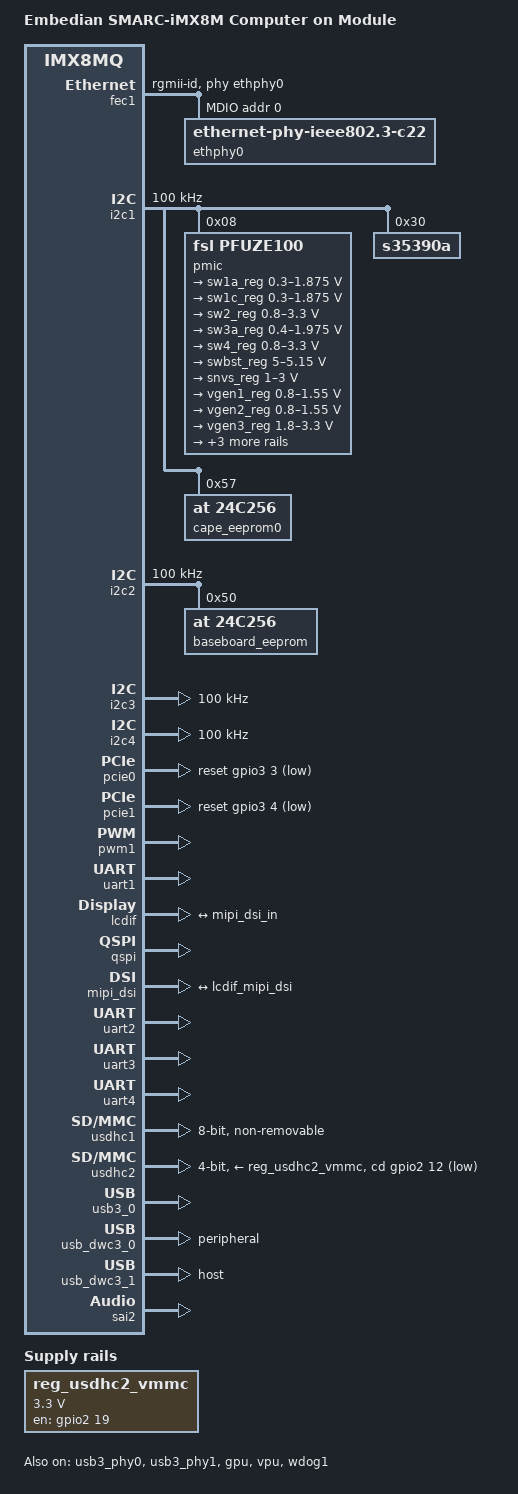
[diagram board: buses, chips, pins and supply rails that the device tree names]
/*
 * Copyright (C) 2016 Freescale Semiconductor, Inc.
 * Copyright 2017 NXP
 *
 * This program is free software; you can redistribute it and/or
 * modify it under the terms of the GNU General Public License
 * as published by the Free Software Foundation; either version 2
 * of the License, or (at your option) any later version.
 *
 * This program is distributed in the hope that it will be useful,
 * but WITHOUT ANY WARRANTY; without even the implied warranty of
 * MERCHANTABILITY or FITNESS FOR A PARTICULAR PURPOSE.  See the
 * GNU General Public License for more details.
 */

/dts-v1/;

/* First 128KB is for PSCI ATF. */
/memreserve/ 0x40000000 0x00020000;

#include "fsl-imx8mq.dtsi"

/ {
	model = "Embedian SMARC-iMX8M Computer on Module";
	compatible = "embedian,imx8mq-smarcimx8m", "fsl,imx8mq";

	regulators {
		compatible = "simple-bus";
		#address-cells = <1>;
		#size-cells = <0>;

		reg_usdhc2_vmmc: usdhc2_vmmc {
			compatible = "regulator-fixed";
			regulator-name = "VSD_3V3";
			regulator-min-microvolt = <3300000>;
			regulator-max-microvolt = <3300000>;
			gpio = <&gpio2 19 GPIO_ACTIVE_HIGH>;
			enable-active-high;
		};
	};

        backlight: backlight {
                compatible = "pwm-backlight";
                pwms = <&pwm1 0 1000000 0>;
                brightness-levels = < 0  1  2  3  4  5  6  7  8  9
                                     10 11 12 13 14 15 16 17 18 19
                                     20 21 22 23 24 25 26 27 28 29
                                     30 31 32 33 34 35 36 37 38 39
                                     40 41 42 43 44 45 46 47 48 49
                                     50 51 52 53 54 55 56 57 58 59
                                     60 61 62 63 64 65 66 67 68 69
                                     70 71 72 73 74 75 76 77 78 79
                                     80 81 82 83 84 85 86 87 88 89
                                     90 91 92 93 94 95 96 97 98 99
                                    100>;
                default-brightness-level = <80>;
                status = "disabled";
        };
};

&iomuxc {
	pinctrl-names = "default";

	smarc-imx8mq {
		pinctrl_fec1: fec1grp {
			fsl,pins = <
				MX8MQ_IOMUXC_ENET_MDC_ENET1_MDC		0x3
				MX8MQ_IOMUXC_ENET_MDIO_ENET1_MDIO	0x23
				MX8MQ_IOMUXC_ENET_TD3_ENET1_RGMII_TD3	0x1f
				MX8MQ_IOMUXC_ENET_TD2_ENET1_RGMII_TD2	0x1f
				MX8MQ_IOMUXC_ENET_TD1_ENET1_RGMII_TD1	0x1f
				MX8MQ_IOMUXC_ENET_TD0_ENET1_RGMII_TD0	0x1f
				MX8MQ_IOMUXC_ENET_RD3_ENET1_RGMII_RD3	0x91
				MX8MQ_IOMUXC_ENET_RD2_ENET1_RGMII_RD2	0x91
				MX8MQ_IOMUXC_ENET_RD1_ENET1_RGMII_RD1	0x91
				MX8MQ_IOMUXC_ENET_RD0_ENET1_RGMII_RD0	0x91
				MX8MQ_IOMUXC_ENET_TXC_ENET1_RGMII_TXC	0x1f
				MX8MQ_IOMUXC_ENET_RXC_ENET1_RGMII_RXC	0x91
				MX8MQ_IOMUXC_ENET_RX_CTL_ENET1_RGMII_RX_CTL	0x91
				MX8MQ_IOMUXC_ENET_TX_CTL_ENET1_RGMII_TX_CTL	0x1f
			>;
		};

		pinctrl_i2c1: i2c1grp {
			fsl,pins = <
				MX8MQ_IOMUXC_I2C1_SCL_I2C1_SCL			0x4000007f
				MX8MQ_IOMUXC_I2C1_SDA_I2C1_SDA			0x4000007f
			>;
		};

		pinctrl_i2c2: i2c2grp {
			fsl,pins = <
				MX8MQ_IOMUXC_I2C2_SCL_I2C2_SCL			0x4000007f
				MX8MQ_IOMUXC_I2C2_SDA_I2C2_SDA			0x4000007f
			>;
		};

               pinctrl_i2c3: i2c3grp {
                        fsl,pins = <
                                MX8MQ_IOMUXC_I2C3_SCL_I2C3_SCL                  0x4000007f
                                MX8MQ_IOMUXC_I2C3_SDA_I2C3_SDA                  0x4000007f
                        >;
                };

                pinctrl_i2c4: i2c4grp {
                        fsl,pins = <
                                MX8MQ_IOMUXC_I2C4_SCL_I2C4_SCL                  0x4000007f
                                MX8MQ_IOMUXC_I2C4_SDA_I2C4_SDA                  0x4000007f
                        >;
                };


		pinctrl_pcie0: pcie0grp {
			fsl,pins = <
                                MX8MQ_IOMUXC_NAND_CE2_B_GPIO3_IO3       0x16
			>;
		};

		pinctrl_pcie1: pcie1grp {
			fsl,pins = <
                                MX8MQ_IOMUXC_NAND_CE3_B_GPIO3_IO4       0x16
			>;
		};

		pinctrl_pwm1: pwm1grp {
			fsl,pins = <
                                MX8MQ_IOMUXC_SPDIF_EXT_CLK_PWM1_OUT     0x16
			>;
		};

		pinctrl_qspi: qspigrp {
			fsl,pins = <
				MX8MQ_IOMUXC_NAND_ALE_QSPI_A_SCLK	0x82
				MX8MQ_IOMUXC_NAND_CE0_B_QSPI_A_SS0_B	0x82
                                MX8MQ_IOMUXC_NAND_CE1_B_QSPI_A_SS1_B    0x82
				MX8MQ_IOMUXC_NAND_DATA00_QSPI_A_DATA0	0x82
				MX8MQ_IOMUXC_NAND_DATA01_QSPI_A_DATA1	0x82
				MX8MQ_IOMUXC_NAND_DATA02_QSPI_A_DATA2	0x82
				MX8MQ_IOMUXC_NAND_DATA03_QSPI_A_DATA3	0x82

			>;
		};

		pinctrl_uart1: uart1grp {
			fsl,pins = <
				MX8MQ_IOMUXC_UART1_RXD_UART1_DCE_RX		0x79
				MX8MQ_IOMUXC_UART1_TXD_UART1_DCE_TX		0x79
			>;
		};

                pinctrl_uart2: uart2grp {
                        fsl,pins = <
                                MX8MQ_IOMUXC_UART2_RXD_UART2_DCE_RX             0x79
                                MX8MQ_IOMUXC_UART2_TXD_UART2_DCE_TX             0x79
				MX8MQ_IOMUXC_UART4_TXD_UART2_DCE_RTS_B		0x79	/* RTS */
				MX8MQ_IOMUXC_UART4_RXD_UART2_DCE_CTS_B		0x79	/* CTS */

                        >;
                };

                pinctrl_uart3: uart3grp {
                        fsl,pins = <
                                MX8MQ_IOMUXC_UART3_RXD_UART3_DCE_RX             0x79
                                MX8MQ_IOMUXC_UART3_TXD_UART3_DCE_TX             0x79
                        >;
                };

                pinctrl_uart4: uart4grp {
                        fsl,pins = <
				MX8MQ_IOMUXC_ECSPI2_SCLK_UART4_DCE_RX		0x79
				MX8MQ_IOMUXC_ECSPI2_MOSI_UART4_DCE_TX		0x79
				MX8MQ_IOMUXC_ECSPI2_SS0_UART4_DCE_RTS_B		0x79	/* RTS */
				MX8MQ_IOMUXC_ECSPI2_MISO_UART4_DCE_CTS_B	0x79	/* CTS */
                        >;
                };

		pinctrl_usdhc1: usdhc1grp {
			fsl,pins = <
				MX8MQ_IOMUXC_SD1_CLK_USDHC1_CLK			0x83
				MX8MQ_IOMUXC_SD1_CMD_USDHC1_CMD			0xc3
				MX8MQ_IOMUXC_SD1_DATA0_USDHC1_DATA0		0xc3
				MX8MQ_IOMUXC_SD1_DATA1_USDHC1_DATA1		0xc3
				MX8MQ_IOMUXC_SD1_DATA2_USDHC1_DATA2		0xc3
				MX8MQ_IOMUXC_SD1_DATA3_USDHC1_DATA3		0xc3
				MX8MQ_IOMUXC_SD1_DATA4_USDHC1_DATA4		0xc3
				MX8MQ_IOMUXC_SD1_DATA5_USDHC1_DATA5		0xc3
				MX8MQ_IOMUXC_SD1_DATA6_USDHC1_DATA6		0xc3
				MX8MQ_IOMUXC_SD1_DATA7_USDHC1_DATA7		0xc3
				MX8MQ_IOMUXC_SD1_STROBE_USDHC1_STROBE 		0x83
				MX8MQ_IOMUXC_SD1_RESET_B_USDHC1_RESET_B		0xc1
			>;
		};

		pinctrl_usdhc1_100mhz: usdhc1grp100mhz {
			fsl,pins = <
				MX8MQ_IOMUXC_SD1_CLK_USDHC1_CLK			0x8d
				MX8MQ_IOMUXC_SD1_CMD_USDHC1_CMD			0xcd
				MX8MQ_IOMUXC_SD1_DATA0_USDHC1_DATA0		0xcd
				MX8MQ_IOMUXC_SD1_DATA1_USDHC1_DATA1		0xcd
				MX8MQ_IOMUXC_SD1_DATA2_USDHC1_DATA2		0xcd
				MX8MQ_IOMUXC_SD1_DATA3_USDHC1_DATA3		0xcd
				MX8MQ_IOMUXC_SD1_DATA4_USDHC1_DATA4		0xcd
				MX8MQ_IOMUXC_SD1_DATA5_USDHC1_DATA5		0xcd
				MX8MQ_IOMUXC_SD1_DATA6_USDHC1_DATA6		0xcd
				MX8MQ_IOMUXC_SD1_DATA7_USDHC1_DATA7		0xcd
				MX8MQ_IOMUXC_SD1_STROBE_USDHC1_STROBE 		0x8d
				MX8MQ_IOMUXC_SD1_RESET_B_USDHC1_RESET_B		0xc1
			>;
		};

		pinctrl_usdhc1_200mhz: usdhc1grp200mhz {
			fsl,pins = <
				MX8MQ_IOMUXC_SD1_CLK_USDHC1_CLK			0x9f
				MX8MQ_IOMUXC_SD1_CMD_USDHC1_CMD			0xdf
				MX8MQ_IOMUXC_SD1_DATA0_USDHC1_DATA0		0xdf
				MX8MQ_IOMUXC_SD1_DATA1_USDHC1_DATA1		0xdf
				MX8MQ_IOMUXC_SD1_DATA2_USDHC1_DATA2		0xdf
				MX8MQ_IOMUXC_SD1_DATA3_USDHC1_DATA3		0xdf
				MX8MQ_IOMUXC_SD1_DATA4_USDHC1_DATA4		0xdf
				MX8MQ_IOMUXC_SD1_DATA5_USDHC1_DATA5		0xdf
				MX8MQ_IOMUXC_SD1_DATA6_USDHC1_DATA6		0xdf
				MX8MQ_IOMUXC_SD1_DATA7_USDHC1_DATA7		0xdf
				MX8MQ_IOMUXC_SD1_STROBE_USDHC1_STROBE 		0x9f
				MX8MQ_IOMUXC_SD1_RESET_B_USDHC1_RESET_B		0xc1
			>;
		};

		pinctrl_usdhc2_gpio: usdhc2grpgpio {
			fsl,pins = <
                                MX8MQ_IOMUXC_SD2_WP_GPIO2_IO20          0x41
				MX8MQ_IOMUXC_SD2_CD_B_GPIO2_IO12	0x41
				MX8MQ_IOMUXC_SD2_RESET_B_GPIO2_IO19	0x41
			>;
		};

		pinctrl_usdhc2: usdhc2grp {
			fsl,pins = <
				MX8MQ_IOMUXC_SD2_CLK_USDHC2_CLK			0x83
				MX8MQ_IOMUXC_SD2_CMD_USDHC2_CMD			0xc3
				MX8MQ_IOMUXC_SD2_DATA0_USDHC2_DATA0		0xc3
				MX8MQ_IOMUXC_SD2_DATA1_USDHC2_DATA1		0xc3
				MX8MQ_IOMUXC_SD2_DATA2_USDHC2_DATA2		0xc3
				MX8MQ_IOMUXC_SD2_DATA3_USDHC2_DATA3		0xc3
			>;
		};

		pinctrl_usdhc2_100mhz: usdhc2grp100mhz {
			fsl,pins = <
				MX8MQ_IOMUXC_SD2_CLK_USDHC2_CLK			0x8d
				MX8MQ_IOMUXC_SD2_CMD_USDHC2_CMD			0xcd
				MX8MQ_IOMUXC_SD2_DATA0_USDHC2_DATA0		0xcd
				MX8MQ_IOMUXC_SD2_DATA1_USDHC2_DATA1		0xcd
				MX8MQ_IOMUXC_SD2_DATA2_USDHC2_DATA2		0xcd
				MX8MQ_IOMUXC_SD2_DATA3_USDHC2_DATA3		0xcd
			>;
		};

		pinctrl_usdhc2_200mhz: usdhc2grp200mhz {
			fsl,pins = <
				MX8MQ_IOMUXC_SD2_CLK_USDHC2_CLK			0x9f
				MX8MQ_IOMUXC_SD2_CMD_USDHC2_CMD			0xdf
				MX8MQ_IOMUXC_SD2_DATA0_USDHC2_DATA0		0xdf
				MX8MQ_IOMUXC_SD2_DATA1_USDHC2_DATA1		0xdf
				MX8MQ_IOMUXC_SD2_DATA2_USDHC2_DATA2		0xdf
				MX8MQ_IOMUXC_SD2_DATA3_USDHC2_DATA3		0xdf
			>;
		};

		pinctrl_sai2: sai2grp {
			fsl,pins = <
				MX8MQ_IOMUXC_SAI2_TXFS_SAI2_TX_SYNC	0xd6
				MX8MQ_IOMUXC_SAI2_TXC_SAI2_TX_BCLK	0xd6
				MX8MQ_IOMUXC_SAI2_MCLK_SAI2_MCLK	0xd6
				MX8MQ_IOMUXC_SAI2_TXD0_SAI2_TX_DATA0	0xd6
				MX8MQ_IOMUXC_GPIO1_IO08_GPIO1_IO8	0xd6
			>;
		};

		pinctrl_wdog: wdoggrp {
			fsl,pins = <
				MX8MQ_IOMUXC_GPIO1_IO02_WDOG1_WDOG_B 0xc6
			>;
		};
	};
};

&fec1 {
	pinctrl-names = "default";
	pinctrl-0 = <&pinctrl_fec1>;
	phy-mode = "rgmii-id";
	phy-handle = <&ethphy0>;
	fsl,magic-packet;
        interrupt-parent = <&gpio1>;
        interrupts = <11 IRQ_TYPE_EDGE_FALLING>;
	status = "okay";

	mdio {
		#address-cells = <1>;
		#size-cells = <0>;

		ethphy0: ethernet-phy@0 {
			compatible = "ethernet-phy-ieee802.3-c22";
			reg = <0>;
			at803x,led-act-blind-workaround;
			at803x,eee-disabled;
		};
	};
};

&i2c1 {
	clock-frequency = <100000>;
	pinctrl-names = "default";
	pinctrl-0 = <&pinctrl_i2c1>;
	status = "okay";

	pmic: pfuze100@08 {
		compatible = "fsl,pfuze100";
		reg = <0x08>;

		regulators {
			sw1a_reg: sw1ab {
				regulator-min-microvolt = <300000>;
				regulator-max-microvolt = <1875000>;
				regulator-always-on;
			};

			sw1c_reg: sw1c {
				regulator-min-microvolt = <300000>;
				regulator-max-microvolt = <1875000>;
				regulator-always-on;
			};

			sw2_reg: sw2 {
				regulator-min-microvolt = <800000>;
				regulator-max-microvolt = <3300000>;
				regulator-always-on;
			};

			sw3a_reg: sw3ab {
				regulator-min-microvolt = <400000>;
				regulator-max-microvolt = <1975000>;
				regulator-always-on;
			};

			sw4_reg: sw4 {
				regulator-min-microvolt = <800000>;
				regulator-max-microvolt = <3300000>;
				regulator-always-on;
			};

			swbst_reg: swbst {
				regulator-min-microvolt = <5000000>;
				regulator-max-microvolt = <5150000>;
			};

			snvs_reg: vsnvs {
				regulator-min-microvolt = <1000000>;
				regulator-max-microvolt = <3000000>;
				regulator-always-on;
			};

			vref_reg: vrefddr {
				regulator-always-on;
			};

			vgen1_reg: vgen1 {
				regulator-min-microvolt = <800000>;
				regulator-max-microvolt = <1550000>;
			};

			vgen2_reg: vgen2 {
				regulator-min-microvolt = <800000>;
				regulator-max-microvolt = <1550000>;
				regulator-always-on;
			};

			vgen3_reg: vgen3 {
				regulator-min-microvolt = <1800000>;
				regulator-max-microvolt = <3300000>;
				regulator-always-on;
			};

			vgen4_reg: vgen4 {
				regulator-min-microvolt = <1800000>;
				regulator-max-microvolt = <3300000>;
				regulator-always-on;
			};

			vgen5_reg: vgen5 {
				regulator-min-microvolt = <1800000>;
				regulator-max-microvolt = <3300000>;
				regulator-always-on;
			};

			vgen6_reg: vgen6 {
				regulator-min-microvolt = <1800000>;
				regulator-max-microvolt = <3300000>;
			};
		};
	};

        s35390a: s35390a@30 {
                compatible = "s35390a";
                reg = <0x30>;
        };

        cape_eeprom0: cape_eeprom@57 {
                compatible = "at,24c256";
                reg = <0x57>;
        };
};

&i2c2 {
	clock-frequency = <100000>;
	pinctrl-names = "default";
	pinctrl-0 = <&pinctrl_i2c2>;
	status = "okay";

        baseboard_eeprom: baseboard_eeprom@50 {
                compatible = "at,24c256";
                reg = <0x50>;
        };

        dsi_lvds_bridge: sn65dsi84@2c {
                status = "disabled";
                reg = <0x2c>;
                compatible = "ti,sn65dsi84";
                enable-gpios = <&gpio4 2 GPIO_ACTIVE_HIGH>;
                interrupt-parent = <&gpio4>;
                interrupts = <4 IRQ_TYPE_EDGE_FALLING>;

                /* AUO G070VW01 7-inch 800x480 LVDS Display */
                sn65dsi84,addresses = < 0x09 0x0A 0x0B 0x0D 0x10 0x11 0x12 0x13
                                        0x18 0x19 0x1A 0x1B 0x20 0x21 0x22 0x23
                                        0x24 0x25 0x26 0x27 0x28 0x29 0x2A 0x2B
                                        0x2C 0x2D 0x2E 0x2F 0x30 0x31 0x32 0x33
                                        0x34 0x35 0x36 0x37 0x38 0x39 0x3A 0x3B
                                        0x3C 0x3D 0x3E 0xE0 0x0D>;

                sn65dsi84,values =    < 0x00 0x01 0x10 0x00 0x26 0x00 0x13 0x00
                                        0x78 0x00 0x03 0x00 0x20 0x03 0x00 0x00
                                        0x00 0x00 0x00 0x00 0x21 0x00 0x00 0x00
                                        0x80 0x00 0x00 0x00 0x0e 0x00 0x00 0x00
                                        0x40 0x00 0x00 0x00 0x00 0x00 0x00 0x00
                                        0x00 0x00 0x00 0x01 0x01>;

                /* AUO G185XW01 18.5-inch 1366x768 LVDS Display */
                /*sn65dsi84,addresses = < 0x09 0x0A 0x0B 0x0D 0x10 0x11 0x12 0x13
                                        0x18 0x19 0x1A 0x1B 0x20 0x21 0x22 0x23
                                        0x24 0x25 0x26 0x27 0x28 0x29 0x2A 0x2B
                                        0x2C 0x2D 0x2E 0x2F 0x30 0x31 0x32 0x33
                                        0x34 0x35 0x36 0x37 0x38 0x39 0x3A 0x3B
                                        0x3C 0x3D 0x3E 0xE0 0x0D>;

                sn65dsi84,values =    < 0x00 0x05 0x10 0x00 0x26 0x00 0x2E 0x00
                                        0x78 0x00 0x03 0x00 0x56 0x05 0x00 0x00
                                        0x00 0x00 0x00 0x00 0x21 0x00 0x00 0x00
                                        0x78 0x00 0x00 0x00 0x12 0x00 0x00 0x00
                                        0x3C 0x00 0x00 0x00 0x00 0x00 0x00 0x00
                                        0x00 0x00 0x00 0x01 0x01>;*/

                /* AUO G240HW01 V0 24-inch 1920x1080 LVDS Display */
                /*sn65dsi84,addresses = < 0x09 0x0A 0x0B 0x0D 0x10 0x11 0x12 0x13
                                        0x18 0x19 0x1A 0x1B 0x20 0x21 0x22 0x23
                                        0x24 0x25 0x26 0x27 0x28 0x29 0x2A 0x2B
                                        0x2C 0x2D 0x2E 0x2F 0x30 0x31 0x32 0x33
                                        0x34 0x35 0x36 0x37 0x38 0x39 0x3A 0x3B
                                        0x3C 0x3D 0x3E 0xE0 0x0D>;

                sn65dsi84,values =    < 0x00 0x05 0x20 0x00 0x26 0x00 0x4E 0x00
                                        0x6C 0x00 0x03 0x00 0x80 0x07 0x00 0x00
                                        0x00 0x00 0x00 0x00 0xC3 0x00 0x00 0x00
                                        0x32 0x00 0x00 0x00 0x14 0x00 0x00 0x00
                                        0x19 0x00 0x00 0x00 0x00 0x00 0x00 0x00
                                        0x00 0x00 0x00 0x01 0x01>;*/
        };
};

&i2c3 {
        clock-frequency = <100000>;
        pinctrl-names = "default";
        pinctrl-0 = <&pinctrl_i2c3>;
        status = "okay";
};

&i2c4 {
        clock-frequency = <100000>;
        pinctrl-names = "default";
        pinctrl-0 = <&pinctrl_i2c4>;
        status = "okay";
};

&pcie0{
	pinctrl-names = "default";
	pinctrl-0 = <&pinctrl_pcie0>;
	reset-gpio = <&gpio3 3 GPIO_ACTIVE_LOW>;
	status = "okay";
};

&pcie1{
	pinctrl-names = "default";
	pinctrl-0 = <&pinctrl_pcie1>;
	reset-gpio = <&gpio3 4 GPIO_ACTIVE_LOW>;
	status = "okay";
};

&pwm1 {
	pinctrl-names = "default";
	pinctrl-0 = <&pinctrl_pwm1>;
	status = "okay";
};

&uart1 { /* console */
	pinctrl-names = "default";
	pinctrl-0 = <&pinctrl_uart1>;
	assigned-clocks = <&clk IMX8MQ_CLK_UART1_SRC>;
	assigned-clock-parents = <&clk IMX8MQ_CLK_25M>;
	status = "okay";
};

&lcdif {
	status = "okay";
	disp-dev = "mipi_dsi_northwest";
	display = <&display0>;

	display0: display@0 {
		bits-per-pixel = <24>;
		bus-width = <24>;

		display-timings {
			native-mode = <&timing0>;
			timing0: timing0 {
			clock-frequency = <9200000>;
			hactive = <480>;
			vactive = <272>;
			hfront-porch = <8>;
			hback-porch = <4>;
			hsync-len = <41>;
			vback-porch = <2>;
			vfront-porch = <4>;
			vsync-len = <10>;

			hsync-active = <0>;
			vsync-active = <0>;
			de-active = <1>;
			pixelclk-active = <0>;
			};
		};
	};
        port@0 {
                lcdif_mipi_dsi: mipi-dsi-endpoint {
                        remote-endpoint = <&mipi_dsi_in>;
                };
        };
};

&qspi {
	pinctrl-names = "default";
	pinctrl-0 = <&pinctrl_qspi>;
	status = "okay";
};

&mipi_dsi {
	reset = <&src>;
	mux-sel = <&gpr>;	/* lcdif or dcss */
	status = "okay";

        port@1 {
                mipi_dsi_in: endpoint {
                        remote-endpoint = <&lcdif_mipi_dsi>;
                };
        };
};

&uart2 {
        pinctrl-names = "default";
        pinctrl-0 = <&pinctrl_uart2>;
        assigned-clocks = <&clk IMX8MQ_CLK_UART2_SRC>;
        assigned-clock-parents = <&clk IMX8MQ_SYS1_PLL_80M>;
        fsl,uart-has-rtscts;
        status = "okay";
};

&uart3 {
	pinctrl-names = "default";
	pinctrl-0 = <&pinctrl_uart3>;
	assigned-clocks = <&clk IMX8MQ_CLK_UART3_SRC>;
	assigned-clock-parents = <&clk IMX8MQ_CLK_25M>;
	status = "okay";
};

&uart4 {
        pinctrl-names = "default";
        pinctrl-0 = <&pinctrl_uart4>;
        assigned-clocks = <&clk IMX8MQ_CLK_UART4_SRC>;
        assigned-clock-parents = <&clk IMX8MQ_SYS1_PLL_80M>;
        fsl,uart-has-rtscts;
        status = "okay";
};

&usdhc1 {
	pinctrl-names = "default", "state_100mhz", "state_200mhz";
	pinctrl-0 = <&pinctrl_usdhc1>;
	pinctrl-1 = <&pinctrl_usdhc1_100mhz>;
	pinctrl-2 = <&pinctrl_usdhc1_200mhz>;
	bus-width = <8>;
	non-removable;
	status = "okay";
};

&usdhc2 {
	pinctrl-names = "default", "state_100mhz", "state_200mhz";
	pinctrl-0 = <&pinctrl_usdhc2>, <&pinctrl_usdhc2_gpio>;
	pinctrl-1 = <&pinctrl_usdhc2_100mhz>, <&pinctrl_usdhc2_gpio>;
	pinctrl-2 = <&pinctrl_usdhc2_200mhz>, <&pinctrl_usdhc2_gpio>;
	bus-width = <4>;
	cd-gpios = <&gpio2 12 GPIO_ACTIVE_LOW>;
	vmmc-supply = <&reg_usdhc2_vmmc>;
	status = "okay";
};

&usb3_phy0 {
	status = "okay";
};

&usb3_0 {
	status = "okay";
};

&usb_dwc3_0 {
	status = "okay";
	dr_mode = "peripheral";
};

&usb3_phy1 {
	status = "okay";
};

&usb3_1 {
	status = "disabled";
};

&usb_dwc3_1 {
	status = "okay";
	dr_mode = "host";
};

&sai2 {
	pinctrl-names = "default";
	pinctrl-0 = <&pinctrl_sai2>;
	assigned-clocks = <&clk IMX8MQ_CLK_SAI2_SRC>,
			<&clk IMX8MQ_AUDIO_PLL1>,
			<&clk IMX8MQ_CLK_SAI2_PRE_DIV>,
			<&clk IMX8MQ_CLK_SAI2_DIV>;
	assigned-clock-parents = <&clk IMX8MQ_AUDIO_PLL1_OUT>;
	assigned-clock-rates = <0>, <786432000>, <98306000>, <24576000>;
	status = "okay";
};

&gpu {
	status = "okay";
};

&vpu {
	status = "okay";
};

&wdog1 {
	pinctrl-names = "default";
	pinctrl-0 = <&pinctrl_wdog>;
	fsl,ext-reset-output;
	status = "okay";
};
